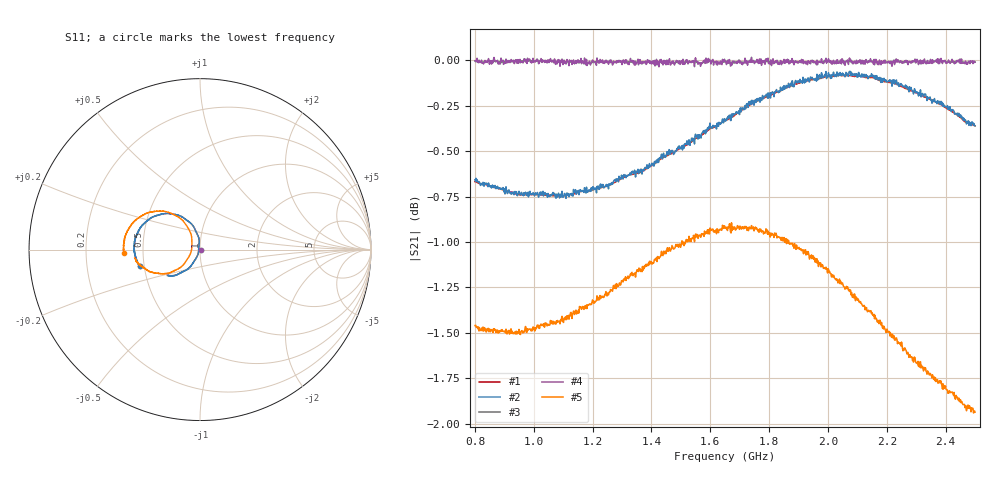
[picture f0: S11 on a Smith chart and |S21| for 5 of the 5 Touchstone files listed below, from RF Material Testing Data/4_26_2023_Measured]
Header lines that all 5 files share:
!Keysight Technologies N9950B: A.12.38
!Timezone: (UTC-06:00) Central Time (US & Canada)
!Model: N9950B
!Serial: MY61131330
!GPS Latitude:
!GPS Longitude:
!GPS TimeStamp: 0001-01-01 00:00:00Z
!GPS Seconds Since Last Read: 0
!Correction: S11(ON U)S21(ON U)S12(ON U)S22(ON U)
!S2P File: Measurements:S11,S21,S12,S22:
# Hz S DB R 50
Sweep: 800 MHz to 2.5 GHz
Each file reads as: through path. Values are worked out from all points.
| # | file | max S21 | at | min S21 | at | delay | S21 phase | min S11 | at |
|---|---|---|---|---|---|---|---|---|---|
| 1 | 4_26_sma_air_5cm_pla_smooth.s2p | -0.08 dB | 2.038 GHz | -0.7 dB | 1.097 GHz | 251 ps | -146 deg at 1.65 GHz | -41.4 dB | 2.072 GHz |
| 2 | 4_26_sma_air_5cm_pla_unsmooth.s2p | -0.06 dB | 2.073 GHz | -0.8 dB | 1.109 GHz | 251 ps | -146 deg at 1.65 GHz | -43.2 dB | 2.073 GHz |
| 3 | 4_26_sma_air_5cm_smooth.s2p | 0.00 dB | 976.8 MHz | 0.0 dB | 1.628 GHz | 167 ps | -99 deg at 1.65 GHz | -60.8 dB | 2.435 GHz |
| 4 | 4_26_sma_air_5cm_unsmoothed.s2p | 0.02 dB | 1.74 GHz | 0.0 dB | 1.426 GHz | 167 ps | -99 deg at 1.65 GHz | -76.9 dB | 1.959 GHz |
| 5 | 4_26_sma_air__5cm_sla.s2p | -0.89 dB | 1.672 GHz | -1.9 dB | 2.495 GHz | 280 ps | -162 deg at 1.65 GHz | -26.3 dB | 1.805 GHz |
